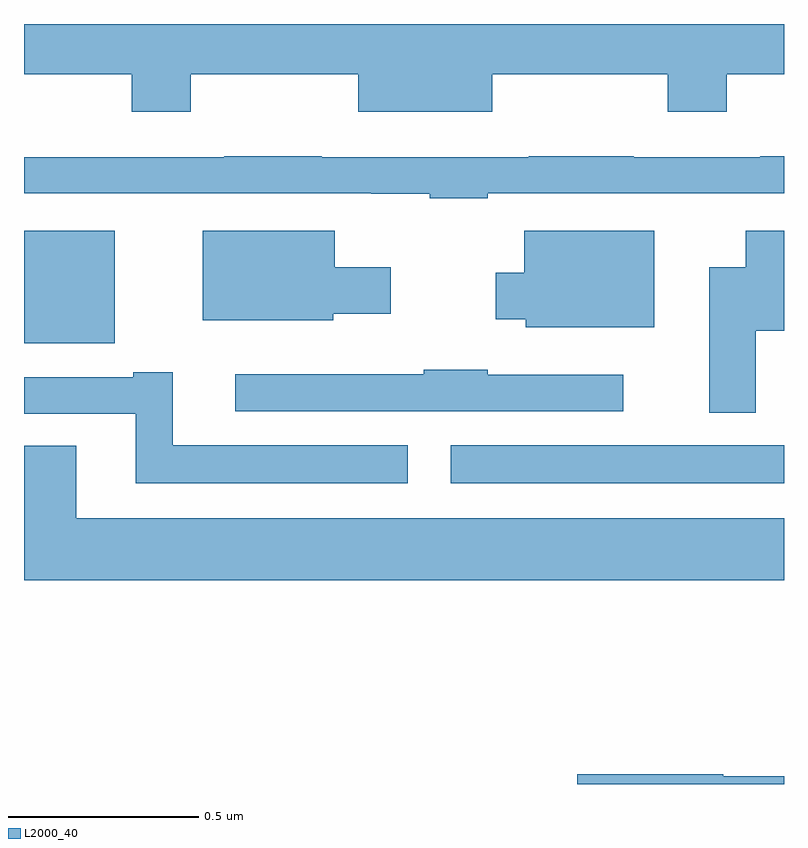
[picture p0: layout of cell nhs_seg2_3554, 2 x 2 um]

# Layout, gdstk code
import gdstk
lib = gdstk.Library(unit=1e-6, precision=1e-09)
def R(c, l, rs):  # rectangles x0, y0, x1, y1
    for r in rs: c.add(gdstk.rectangle(r[:2], r[2:], *l))
def P(c, l, *ps):  # polygons
    for p in ps: c.add(gdstk.Polygon(p, *l))
L2000_40 = (2000, 40)

nhs_seg2_3554 = lib.new_cell('nhs_seg2_3554')
R(nhs_seg2_3554, L2000_40, [(156.123,614.591,157,614.692), (155,614.96,155.239,615.256)])
P(nhs_seg2_3554, L2000_40, [(155.439,615.668),(155.879,615.668),(155.879,615.569),(156.232,615.569),(156.232,615.668),(156.694,615.668),(156.694,615.569),(156.849,615.569),(156.849,615.668),(157,615.668),(157,615.8),(155,615.8),(155,615.668),(155.284,615.668),(155.284,615.569),(155.439,615.569)],
  [(156.221,615.354),(157,615.354),(157,615.452),(156.937,615.452),(156.937,615.45),(156.605,615.45),(156.605,615.452),(156.328,615.452),(156.328,615.45),(155.783,615.45),(155.783,615.452),(155.527,615.452),(155.527,615.45),(155,615.45),(155,615.354),(155.914,615.354),(155.914,615.353),(156.068,615.353),(156.068,615.342),(156.221,615.342)],
  [(156.658,615.256),(156.317,615.256),(156.317,615.145),(156.242,615.145),(156.242,615.023),(156.321,615.023),(156.321,615.002),(156.658,615.002)],
  [(156.925,614.993),(157,614.993),(157,615.256),(156.899,615.256),(156.899,615.16),(156.803,615.16),(156.803,614.777),(156.925,614.777)],
  [(155.814,615.038),(155.965,615.038),(155.965,615.16),(155.818,615.16),(155.818,615.256),(155.471,615.256),(155.471,615.02),(155.814,615.02)],
  [(156.577,614.877),(156.221,614.877),(156.221,614.89),(156.052,614.89),(156.052,614.878),(155.556,614.878),(155.556,614.781),(156.577,614.781)],
  [(156.01,614.692),(155.392,614.692),(155.392,614.884),(155.288,614.884),(155.288,614.871),(155,614.871),(155,614.775),(155.294,614.775),(155.294,614.591),(156.01,614.591)],
  [(157,614.5),(155.137,614.5),(155.137,614.69),(155,614.69),(155,614.336),(157,614.336)],
  [(157,613.82),(156.84,613.82),(156.84,613.826),(156.456,613.826),(156.456,613.8),(157,613.8)])

lib.write_gds('nhs_seg2_3554.gds')
